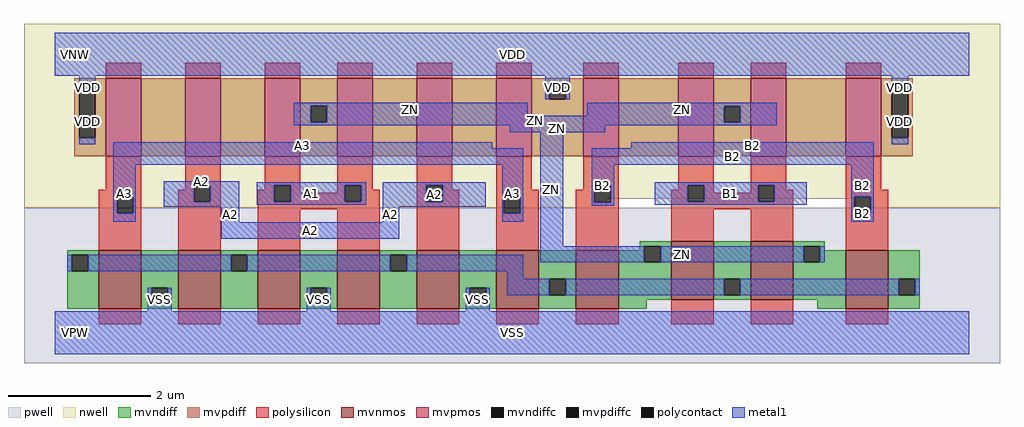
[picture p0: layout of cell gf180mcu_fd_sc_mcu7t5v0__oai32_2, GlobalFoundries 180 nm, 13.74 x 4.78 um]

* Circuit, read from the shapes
.subckt gf180mcu_fd_sc_mcu7t5v0__oai32_2 A1 A2 A3 B1 B2 ZN VDD VNW VPW VSS
XM1 VSS A3 n1 VPW nfet_06v0 w=0.82u l=0.6u m=2
XM2 n1 A2 VSS VPW nfet_06v0 w=0.82u l=0.6u m=2
XM3 VSS A1 n1 VPW nfet_06v0 w=0.82u l=0.6u m=2
XM4 ZN B2 n1 VPW nfet_06v0 w=0.82u l=0.6u m=2
XM5 n1 B1 ZN VPW nfet_06v0 w=0.82u l=0.6u m=2
XM6 n2 A3 VDD VNW pfet_06v0 w=1.095u l=0.5u
XM7 n3 A2 n2 VNW pfet_06v0 w=1.095u l=0.5u
XM8 ZN A1 n3 VNW pfet_06v0 w=1.095u l=0.5u
XM9 n4 A1 ZN VNW pfet_06v0 w=1.095u l=0.5u
XM10 n5 A2 n4 VNW pfet_06v0 w=1.095u l=0.5u
XM11 VDD A3 n5 VNW pfet_06v0 w=1.095u l=0.5u
XM12 n6 B2 VDD VNW pfet_06v0 w=1.095u l=0.5u
XM13 ZN B1 n6 VNW pfet_06v0 w=1.095u l=0.5u
XM14 n7 B1 ZN VNW pfet_06v0 w=1.095u l=0.5u
XM15 VDD B2 n7 VNW pfet_06v0 w=1.095u l=0.5u
.ends

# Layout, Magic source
magic
tech gf180mcuD
magscale 1 10
<< nwell >>
rect -86 377 2662 870
rect -86 352 1554 377
rect 2256 352 2662 377
<< pwell >>
rect -86 -86 2662 352
<< mvnmos >>
rect 124 68 244 232
rect 348 68 468 232
rect 572 68 692 232
rect 796 68 916 232
rect 1020 68 1140 232
rect 1244 68 1364 232
rect 1468 68 1588 232
rect 1736 93 1856 257
rect 1960 93 2080 257
rect 2228 68 2348 232
<< mvpmos >>
rect 144 497 244 716
rect 368 497 468 716
rect 592 497 692 716
rect 796 497 896 716
rect 1020 497 1120 716
rect 1244 497 1344 716
rect 1488 497 1588 716
rect 1756 497 1856 716
rect 1960 497 2060 716
rect 2228 497 2328 716
<< mvndiff >>
rect 1648 244 1736 257
rect 1648 232 1661 244
rect 36 219 124 232
rect 36 173 49 219
rect 95 173 124 219
rect 36 68 124 173
rect 244 127 348 232
rect 244 81 273 127
rect 319 81 348 127
rect 244 68 348 81
rect 468 219 572 232
rect 468 173 497 219
rect 543 173 572 219
rect 468 68 572 173
rect 692 127 796 232
rect 692 81 721 127
rect 767 81 796 127
rect 692 68 796 81
rect 916 219 1020 232
rect 916 173 945 219
rect 991 173 1020 219
rect 916 68 1020 173
rect 1140 127 1244 232
rect 1140 81 1169 127
rect 1215 81 1244 127
rect 1140 68 1244 81
rect 1364 152 1468 232
rect 1364 106 1393 152
rect 1439 106 1468 152
rect 1364 68 1468 106
rect 1588 198 1661 232
rect 1707 198 1736 244
rect 1588 93 1736 198
rect 1856 152 1960 257
rect 1856 106 1885 152
rect 1931 106 1960 152
rect 1856 93 1960 106
rect 2080 244 2168 257
rect 2080 198 2109 244
rect 2155 232 2168 244
rect 2155 198 2228 232
rect 2080 93 2228 198
rect 1588 68 1668 93
rect 2148 68 2228 93
rect 2348 152 2436 232
rect 2348 106 2377 152
rect 2423 106 2436 152
rect 2348 68 2436 106
<< mvpdiff >>
rect 56 689 144 716
rect 56 549 69 689
rect 115 549 144 689
rect 56 497 144 549
rect 244 497 368 716
rect 468 497 592 716
rect 692 639 796 716
rect 692 593 721 639
rect 767 593 796 639
rect 692 497 796 593
rect 896 497 1020 716
rect 1120 497 1244 716
rect 1344 703 1488 716
rect 1344 657 1393 703
rect 1439 657 1488 703
rect 1344 497 1488 657
rect 1588 497 1756 716
rect 1856 638 1960 716
rect 1856 592 1885 638
rect 1931 592 1960 638
rect 1856 497 1960 592
rect 2060 497 2228 716
rect 2328 689 2416 716
rect 2328 549 2357 689
rect 2403 549 2416 689
rect 2328 497 2416 549
<< mvndiffc >>
rect 49 173 95 219
rect 273 81 319 127
rect 497 173 543 219
rect 721 81 767 127
rect 945 173 991 219
rect 1169 81 1215 127
rect 1393 106 1439 152
rect 1661 198 1707 244
rect 1885 106 1931 152
rect 2109 198 2155 244
rect 2377 106 2423 152
<< mvpdiffc >>
rect 69 549 115 689
rect 721 593 767 639
rect 1393 657 1439 703
rect 1885 592 1931 638
rect 2357 549 2403 689
<< polysilicon >>
rect 144 716 244 760
rect 368 716 468 760
rect 592 716 692 760
rect 796 716 896 760
rect 1020 716 1120 760
rect 1244 716 1344 760
rect 1488 716 1588 760
rect 1756 716 1856 760
rect 1960 716 2060 760
rect 2228 716 2328 760
rect 144 402 244 497
rect 368 415 468 497
rect 368 402 393 415
rect 124 383 244 402
rect 124 337 176 383
rect 222 337 244 383
rect 124 232 244 337
rect 348 369 393 402
rect 439 369 468 415
rect 592 415 692 497
rect 592 402 619 415
rect 348 232 468 369
rect 572 369 619 402
rect 665 394 692 415
rect 796 415 896 497
rect 796 394 817 415
rect 665 369 817 394
rect 863 402 896 415
rect 1020 415 1120 497
rect 863 369 916 402
rect 572 348 916 369
rect 572 232 692 348
rect 796 232 916 348
rect 1020 369 1047 415
rect 1093 402 1120 415
rect 1244 402 1344 497
rect 1488 414 1588 497
rect 1488 402 1520 414
rect 1093 369 1140 402
rect 1020 232 1140 369
rect 1244 383 1364 402
rect 1244 337 1265 383
rect 1311 337 1364 383
rect 1244 232 1364 337
rect 1468 368 1520 402
rect 1566 368 1588 414
rect 1756 415 1856 497
rect 1756 402 1783 415
rect 1468 232 1588 368
rect 1736 369 1783 402
rect 1829 394 1856 415
rect 1960 415 2060 497
rect 1960 394 1981 415
rect 1829 369 1981 394
rect 2027 402 2060 415
rect 2228 402 2328 497
rect 2027 369 2080 402
rect 1736 348 2080 369
rect 1736 257 1856 348
rect 1960 257 2080 348
rect 2228 383 2348 402
rect 2228 337 2252 383
rect 2298 337 2348 383
rect 2228 232 2348 337
rect 124 24 244 68
rect 348 24 468 68
rect 572 24 692 68
rect 796 24 916 68
rect 1020 24 1140 68
rect 1244 24 1364 68
rect 1468 24 1588 68
rect 1736 24 1856 93
rect 1960 24 2080 93
rect 2228 24 2348 68
<< polycontact >>
rect 176 337 222 383
rect 393 369 439 415
rect 619 369 665 415
rect 817 369 863 415
rect 1047 369 1093 415
rect 1265 337 1311 383
rect 1520 368 1566 414
rect 1783 369 1829 415
rect 1981 369 2027 415
rect 2252 337 2298 383
<< metal1 >>
rect 0 724 2576 844
rect 69 689 115 724
rect 1382 703 1450 724
rect 1382 657 1393 703
rect 1439 657 1450 703
rect 2357 689 2403 724
rect 673 639 1332 648
rect 673 593 721 639
rect 767 611 1332 639
rect 1500 638 2034 648
rect 1500 611 1885 638
rect 767 593 1885 611
rect 673 592 1885 593
rect 1931 592 2034 638
rect 673 584 2034 592
rect 1282 565 1550 584
rect 69 530 115 549
rect 165 519 1232 536
rect 165 473 1320 519
rect 165 383 229 473
rect 165 337 176 383
rect 222 337 229 383
rect 307 415 520 427
rect 307 369 393 415
rect 439 369 520 415
rect 307 354 520 369
rect 570 415 878 424
rect 570 369 619 415
rect 665 369 817 415
rect 863 369 878 415
rect 570 360 878 369
rect 924 415 1214 424
rect 924 369 1047 415
rect 1093 369 1214 415
rect 165 312 229 337
rect 470 311 520 354
rect 924 354 1214 369
rect 1260 383 1320 473
rect 924 311 970 354
rect 1260 337 1265 383
rect 1311 337 1320 383
rect 1260 312 1320 337
rect 470 265 970 311
rect 1368 244 1432 565
rect 1624 519 2307 536
rect 2357 530 2403 549
rect 1512 473 2307 519
rect 1512 414 1576 473
rect 1512 368 1520 414
rect 1566 368 1576 414
rect 1512 357 1576 368
rect 1690 415 2118 424
rect 1690 369 1783 415
rect 1829 369 1981 415
rect 2027 369 2118 415
rect 1690 360 2118 369
rect 2243 383 2307 473
rect 2243 337 2252 383
rect 2298 337 2307 383
rect 2243 312 2307 337
rect 36 173 49 219
rect 95 173 497 219
rect 543 173 945 219
rect 991 173 1320 219
rect 1368 198 1661 244
rect 1707 198 2109 244
rect 2155 198 2168 244
rect 1274 152 1320 173
rect 262 81 273 127
rect 319 81 330 127
rect 262 60 330 81
rect 710 81 721 127
rect 767 81 778 127
rect 710 60 778 81
rect 1158 81 1169 127
rect 1215 81 1226 127
rect 1274 106 1393 152
rect 1439 106 1885 152
rect 1931 106 2377 152
rect 2423 106 2436 152
rect 1158 60 1226 81
rect 0 -60 2576 60
<< labels >>
flabel metal1 s 165 519 1232 536 0 FreeSans 400 0 0 0 A3
port 3 nsew default input
flabel metal1 s 1690 360 2118 424 0 FreeSans 400 0 0 0 B1
port 4 nsew default input
flabel metal1 s 1624 519 2307 536 0 FreeSans 400 0 0 0 B2
port 5 nsew default input
flabel metal1 s 0 724 2576 844 0 FreeSans 400 0 0 0 VDD
port 7 nsew power bidirectional abutment
flabel metal1 s 1158 60 1226 127 0 FreeSans 400 0 0 0 VSS
port 10 nsew ground bidirectional abutment
flabel metal1 s 1500 611 2034 648 0 FreeSans 400 0 0 0 ZN
port 6 nsew default output
flabel metal1 s 570 360 878 424 0 FreeSans 400 0 0 0 A1
port 1 nsew default input
flabel metal1 s 307 424 520 427 0 FreeSans 400 0 0 0 A2
port 2 nsew default input
flabel nwell s 10 734 110 834 0 FreeSans 400 0 0 0 VNW
port 8 nsew power bidirectional
flabel pwell s 10 -50 110 50 0 FreeSans 400 0 0 0 VPW
port 9 nsew ground bidirectional
rlabel metal1 s 924 354 1214 424 1 A2
port 2 nsew default input
rlabel metal1 s 307 354 520 424 1 A2
port 2 nsew default input
rlabel metal1 s 924 311 970 354 1 A2
port 2 nsew default input
rlabel metal1 s 470 311 520 354 1 A2
port 2 nsew default input
rlabel metal1 s 470 265 970 311 1 A2
port 2 nsew default input
rlabel metal1 s 165 473 1320 519 1 A3
port 3 nsew default input
rlabel metal1 s 1260 312 1320 473 1 A3
port 3 nsew default input
rlabel metal1 s 165 312 229 473 1 A3
port 3 nsew default input
rlabel metal1 s 1512 473 2307 519 1 B2
port 5 nsew default input
rlabel metal1 s 2243 357 2307 473 1 B2
port 5 nsew default input
rlabel metal1 s 1512 357 1576 473 1 B2
port 5 nsew default input
rlabel metal1 s 2243 312 2307 357 1 B2
port 5 nsew default input
rlabel metal1 s 673 611 1332 648 1 ZN
port 6 nsew default output
rlabel metal1 s 673 584 2034 611 1 ZN
port 6 nsew default output
rlabel metal1 s 1282 565 1550 584 1 ZN
port 6 nsew default output
rlabel metal1 s 1368 244 1432 565 1 ZN
port 6 nsew default output
rlabel metal1 s 1368 198 2168 244 1 ZN
port 6 nsew default output
rlabel metal1 s 2357 657 2403 724 1 VDD
port 7 nsew power bidirectional abutment
rlabel metal1 s 1382 657 1450 724 1 VDD
port 7 nsew power bidirectional abutment
rlabel metal1 s 69 657 115 724 1 VDD
port 7 nsew power bidirectional abutment
rlabel metal1 s 2357 530 2403 657 1 VDD
port 7 nsew power bidirectional abutment
rlabel metal1 s 69 530 115 657 1 VDD
port 7 nsew power bidirectional abutment
rlabel metal1 s 710 60 778 127 1 VSS
port 10 nsew ground bidirectional abutment
rlabel metal1 s 262 60 330 127 1 VSS
port 10 nsew ground bidirectional abutment
rlabel metal1 s 0 -60 2576 60 1 VSS
port 10 nsew ground bidirectional abutment
<< properties >>
string FIXED_BBOX 0 0 2576 784
string GDS_END 60652
string GDS_FILE $PDKPATH/libs.ref/gf180mcu_fd_sc_mcu7t5v0/gds/gf180mcu_fd_sc_mcu7t5v0.gds
string GDS_START 55360
string LEFclass core
string LEFsite GF018hv5v_mcu_sc7
string LEFsymmetry X Y
<< end >>
